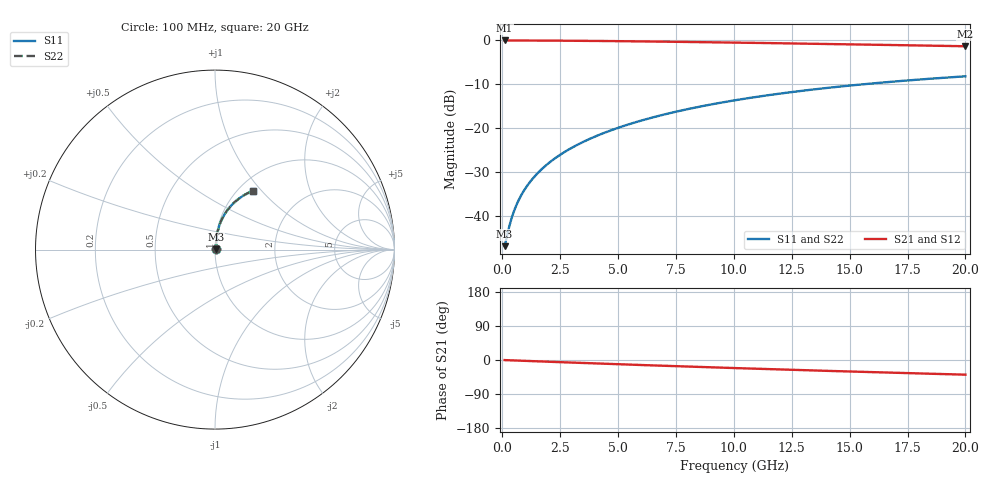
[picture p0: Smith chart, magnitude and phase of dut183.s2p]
! Touchstone file exported from HFSS 2024.1.0
!  File:  C:/UserFiles/LocalFiles/RDL_TSV_Batchsim/temp_RDL_bottom_183_1778698781.aedt
!  Generated:  03:02:49 AM May 14, 2026
!  Design:  RDL_bottom
!  Project:  temp_RDL_bottom_183_1778698781
!  Setup:  Setup1
!  Solution:  Sweep
! Variables:
!  dtsv = 10.80580581um
!  hbump = 3um
!  htsv = 86.74um
!  ldown = 499.79um
!  lrdl = 100um
!  p = 40
!  p1 = 53.22um
!  rhole = 1um
!  t = 450um
!  tdown = 2.29um
!  trdl = 3.915915916um
!  wdown = 20.76um
!  wrdl = 20um
# GHz S MA R 50.000000
! Terminal data exported
! Port[1] = RDL1_T1
! Port[2] = RDL1_T2
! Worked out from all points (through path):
!   200 points, 100 MHz to 20 GHz, reference 50 ohm
!   highest |S21| = -0.03 dB at 100 MHz (marker M1); lowest = -1.4 dB at 20 GHz (marker M2)
!   group delay of S21, straight-line fit = 5.35 ps
!   lowest |S11| = -46.9 dB at 100 MHz (marker M3), VSWR 1.01, Z = 50.4 + j0.215 ohm
!   |S11| at or under -10 dB: start of sweep to 15.6 GHz
!   |S22| runs from -46.9 to -8.2 dB; largest |S21 - S12| = 3.9e-15
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0.1  0.00454 28.0  0.996 -0.2  0.996 -0.2  0.00454 28.0
! Gamma 0 0 0 0
! Port Impedance 50 0 50 0
0.3  0.007596 56.2  0.9957 -0.7  0.9957 -0.7  0.007596 56.2
0.4  0.009418 62.4  0.9956 -0.9  0.9956 -0.9  0.009418 62.4
0.5  0.01128 66.4  0.9954 -1.2  0.9954 -1.2  0.01128 66.4
0.6  0.01315 69.2  0.9952 -1.4  0.9952 -1.4  0.01315 69.2
0.7  0.01503 71.4  0.995 -1.6  0.995 -1.6  0.01503 71.4
0.9  0.0188 74.4  0.9946 -2.1  0.9946 -2.1  0.0188 74.4
1.2  0.02449 77.3  0.994 -2.8  0.994 -2.8  0.02449 77.3
1.4  0.02832 78.6  0.9935 -3.2  0.9935 -3.2  0.02832 78.6
1.7  0.03411 80.0  0.9928 -3.9  0.9928 -3.9  0.03411 80.0
2.2  0.04388 81.3  0.9913 -5.0  0.9913 -5.0  0.04388 81.3
2.8  0.05579 82.1  0.9892 -6.3  0.9892 -6.3  0.05579 82.1
3.5  0.06991 82.4  0.9862 -7.9  0.9862 -7.9  0.06992 82.4
4.2  0.08427 82.2  0.9827 -9.4  0.9827 -9.4  0.08427 82.2
5  0.1009 81.7  0.9782 -11.1  0.9782 -11.1  0.1009 81.7
5.9  0.1199 80.8  0.9726 -13.0  0.9726 -13.0  0.1199 80.8
6.8  0.139 79.6  0.9664 -14.9  0.9664 -14.9  0.139 79.6
8.4  0.1731 77.2  0.9547 -18.1  0.9547 -18.1  0.1731 77.3
10.1  0.2089 74.4  0.9412 -21.4  0.9412 -21.4  0.2089 74.4
13.4  0.2751 68.5  0.9136 -27.5  0.9136 -27.5  0.2752 68.5
16.7  0.3356 62.7  0.8848 -33.3  0.8848 -33.3  0.3356 62.7
20  0.3893 57.2  0.8558 -38.7  0.8558 -38.7  0.3893 57.2
